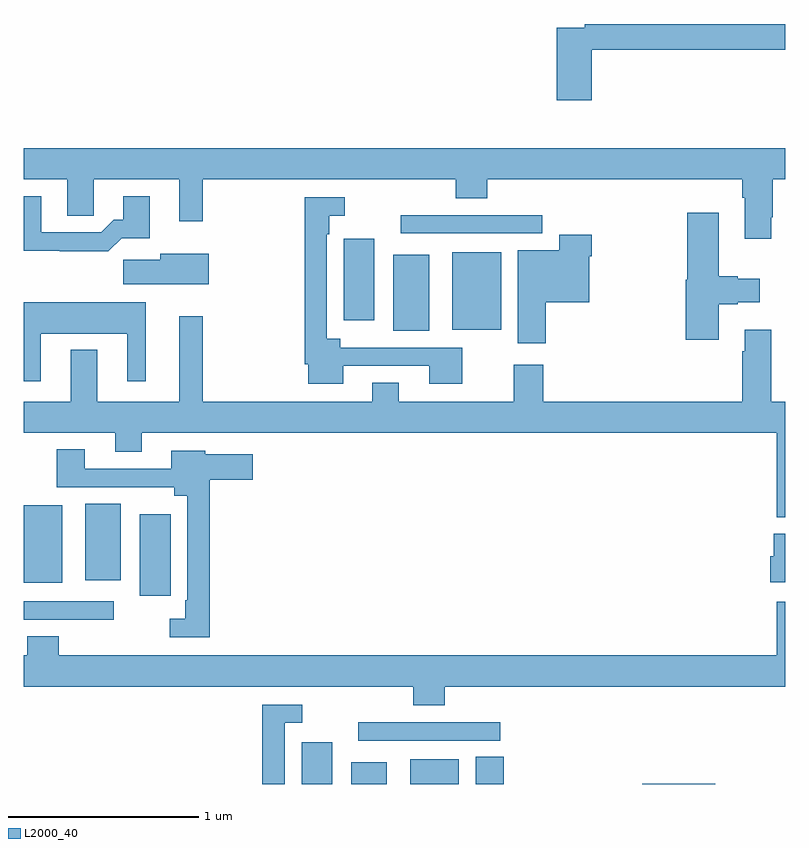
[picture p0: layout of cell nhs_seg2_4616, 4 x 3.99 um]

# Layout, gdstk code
import gdstk
lib = gdstk.Library(unit=1e-6, precision=1e-09)
def R(c, l, rs):  # rectangles x0, y0, x1, y1
    for r in rs: c.add(gdstk.rectangle(r[:2], r[2:], *l))
def P(c, l, *ps):  # polygons
    for p in ps: c.add(gdstk.Polygon(p, *l))
L2000_40 = (2000, 40)

nhs_seg2_4616 = lib.new_cell('nhs_seg2_4616')
R(nhs_seg2_4616, L2000_40, [(362.459,637.8,362.62,638.02), (362.72,637.8,362.908,637.915), (363.029,637.8,363.286,637.93), (363.374,637.8,363.521,637.943), (364.248,637.8,364.632,637.802), (362.757,638.028,363.502,638.124), (361,638.664,361.474,638.76), (361.61,638.79,361.771,639.217), (361,638.858,361.201,639.265), (361.322,638.87,361.51,639.271), (362.942,640.181,363.13,640.579), (363.251,640.187,363.508,640.594), (362.681,640.236,362.842,640.663), (362.979,640.692,363.724,640.788)])
P(nhs_seg2_4616, L2000_40, [(363.983,641.656),(365,641.656),(365,641.792),(363.946,641.792),(363.946,641.772),(363.8,641.772),(363.8,641.391),(363.983,641.391)],
  [(364.927,640.777),(364.935,640.777),(364.935,640.976),(365,640.976),(365,641.14),(361,641.14),(361,640.976),(361.229,640.976),(361.229,640.786),(361.368,640.786),(361.368,640.976),(361.817,640.976),(361.817,640.755),(361.939,640.755),(361.939,640.976),(363.269,640.976),(363.269,640.877),(363.434,640.877),(363.434,640.976),(364.775,640.976),(364.775,640.88),(364.787,640.88),(364.787,640.665),(364.927,640.665)],
  [(361.514,640.667),(361.663,640.667),(361.663,640.888),(361.523,640.888),(361.523,640.765),(361.474,640.765),(361.407,640.698),(361.093,640.698),(361.093,640.888),(361,640.888),(361,640.6),(361.189,640.6),(361.189,640.598),(361.445,640.598)],
  [(362.677,639.996),(363.131,639.996),(363.131,639.902),(363.304,639.902),(363.304,640.092),(362.662,640.092),(362.662,640.138),(362.592,640.138),(362.592,640.688),(362.604,640.688),(362.604,640.785),(362.686,640.785),(362.686,640.881),(362.476,640.881),(362.476,640.006),(362.495,640.006),(362.495,639.902),(362.677,639.902)],
  [(364.651,640.319),(364.751,640.319),(364.751,640.331),(364.867,640.331),(364.867,640.453),(364.751,640.453),(364.751,640.466),(364.651,640.466),(364.651,640.801),(364.484,640.801),(364.484,640.449),(364.478,640.449),(364.478,640.134),(364.651,640.134)],
  [(363.743,640.331),(363.97,640.331),(363.97,640.571),(363.983,640.571),(363.983,640.684),(363.812,640.684),(363.812,640.603),(363.596,640.603),(363.596,640.116),(363.743,640.116)],
  [(361.972,640.585),(361.718,640.585),(361.718,640.553),(361.524,640.553),(361.524,640.424),(361.972,640.424)],
  [(361.09,640.166),(361.544,640.166),(361.544,639.915),(361.642,639.915),(361.642,640.33),(361,640.33),(361,639.915),(361.09,639.915)],
  [(365,639.808),(364.927,639.808),(364.927,640.186),(364.787,640.186),(364.787,640.073),(364.775,640.073),(364.775,639.808),(363.728,639.808),(363.728,640.003),(363.575,640.003),(363.575,639.808),(362.971,639.808),(362.971,639.907),(362.831,639.907),(362.831,639.808),(361.939,639.808),(361.939,640.258),(361.817,640.258),(361.817,639.808),(361.387,639.808),(361.387,640.081),(361.247,640.081),(361.247,639.808),(361,639.808),(361,639.644),(361.481,639.644),(361.481,639.545),(361.621,639.545),(361.621,639.644),(364.956,639.644),(364.956,639.2),(365,639.2)],
  [(361.976,639.398),(362.203,639.398),(362.203,639.532),(361.953,639.532),(361.953,639.55),(361.775,639.55),(361.775,639.456),(361.321,639.456),(361.321,639.559),(361.174,639.559),(361.174,639.36),(361.79,639.36),(361.79,639.314),(361.86,639.314),(361.86,638.764),(361.848,638.764),(361.848,638.667),(361.767,638.667),(361.767,638.571),(361.976,638.571)],
  [(365,639.115),(364.94,639.115),(364.94,638.997),(364.922,638.997),(364.922,638.861),(365,638.861)],
  [(363.212,638.312),(365,638.312),(365,638.758),(364.956,638.758),(364.956,638.476),(361.184,638.476),(361.184,638.575),(361.019,638.575),(361.019,638.476),(361,638.476),(361,638.312),(363.047,638.312),(363.047,638.213),(363.212,638.213)],
  [(362.37,638.121),(362.464,638.121),(362.464,638.217),(362.254,638.217),(362.254,637.8),(362.37,637.8)])

lib.write_gds('nhs_seg2_4616.gds')
